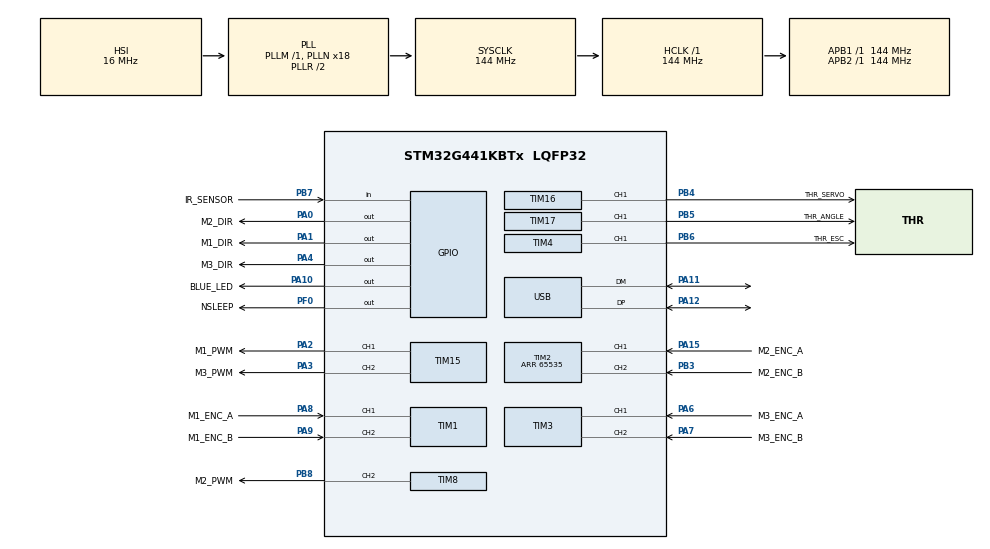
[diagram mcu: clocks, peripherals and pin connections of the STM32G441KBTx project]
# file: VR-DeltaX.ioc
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Mcu.Family=STM32G4
Mcu.Name=STM32G441KBTx
Mcu.Package=LQFP32
NVIC.PriorityGroup=NVIC_PRIORITYGROUP_4
NVIC.TIM6_DAC_IRQn=true\:0\:0\:false\:false\:true\:true\:true\:true
NVIC.USB_LP_IRQn=true\:0\:0\:false\:false\:true\:false\:true\:true
PA0.GPIO_Label=M2_DIR
PA0.Signal=GPIO_Output
PA1.GPIO_Label=M1_DIR
PA1.Signal=GPIO_Output
PA10.GPIO_Label=BLUE_LED
PA10.Signal=GPIO_Output
PA11.Mode=Device
PA11.Signal=USB_DM
PA12.Mode=Device
PA12.Signal=USB_DP
PA13.Mode=Serial_Wire
PA13.Signal=SYS_JTMS-SWDIO
PA14.Mode=Serial_Wire
PA14.Signal=SYS_JTCK-SWCLK
PA15.GPIO_Label=M2_ENC_A
PA15.Signal=S_TIM2_CH1
PA2.GPIO_Label=M1_PWM
PA2.Signal=S_TIM15_CH1
PA3.GPIO_Label=M3_PWM
PA3.Signal=S_TIM15_CH2
PA4.GPIO_Label=M3_DIR
PA4.Signal=GPIO_Output
PA6.GPIO_Label=M3_ENC_A
PA6.Signal=S_TIM3_CH1
PA7.GPIO_Label=M3_ENC_B
PA7.Signal=S_TIM3_CH2
PA8.GPIO_Label=M1_ENC_A
PA8.Signal=S_TIM1_CH1
PA9.GPIO_Label=M1_ENC_B
PA9.Signal=S_TIM1_CH2
PB3.GPIO_Label=M2_ENC_B
PB3.Signal=S_TIM2_CH2
PB4.GPIO_Label=THR_SERVO
PB4.Signal=S_TIM16_CH1
PB5.GPIO_Label=THR_ANGLE
PB5.Signal=S_TIM17_CH1
PB6.GPIO_Label=THR_ESC
PB6.Signal=S_TIM4_CH1
PB7.GPIO_Label=IR_SENSOR
PB7.Signal=GPIO_Input
PB8-BOOT0.GPIO_Label=M2_PWM
PB8-BOOT0.Signal=S_TIM8_CH2
PF0-OSC_IN.GPIO_Label=NSLEEP
PF0-OSC_IN.Signal=GPIO_Output
ProjectManager.HeapSize=0x200
ProjectManager.StackSize=0x400
ProjectManager.TargetToolchain=STM32CubeIDE
RCC.ADC12Freq_Value=144000000
RCC.AHBFreq_Value=144000000
RCC.APB1Freq_Value=144000000
RCC.APB1TimFreq_Value=144000000
RCC.APB2Freq_Value=144000000
RCC.APB2TimFreq_Value=144000000
RCC.CortexFreq_Value=144000000
RCC.EXTERNAL_CLOCK_VALUE=12288000
RCC.HCLKFreq_Value=144000000
RCC.HSE_VALUE=8000000
RCC.HSI48_VALUE=48000000
RCC.HSI_VALUE=16000000
RCC.LSE_VALUE=32768
RCC.PLLN=18
RCC.PLLQ=RCC_PLLQ_DIV6
RCC.SYSCLKFreq_VALUE=144000000
RCC.SYSCLKSource=RCC_SYSCLKSOURCE_PLLCLK
RCC.USBFreq_Value=48000000
RCC.VCOOutputFreq_Value=288000000
SH.S_TIM15_CH1.0=TIM15_CH1,PWM Generation1 CH1
SH.S_TIM15_CH2.0=TIM15_CH2,PWM Generation2 CH2
SH.S_TIM16_CH1.0=TIM16_CH1,PWM Generation1 CH1
SH.S_TIM17_CH1.0=TIM17_CH1,PWM Generation1 CH1
SH.S_TIM1_CH1.0=TIM1_CH1,Encoder_Interface
SH.S_TIM1_CH2.0=TIM1_CH2,Encoder_Interface
SH.S_TIM2_CH1.0=TIM2_CH1,Encoder_Interface
SH.S_TIM2_CH2.0=TIM2_CH2,Encoder_Interface
SH.S_TIM3_CH1.0=TIM3_CH1,Encoder_Interface
SH.S_TIM3_CH2.0=TIM3_CH2,Encoder_Interface
SH.S_TIM4_CH1.0=TIM4_CH1,PWM Generation1 CH1
SH.S_TIM8_CH2.0=TIM8_CH2,PWM Generation2 CH2
TIM1.AutoReloadPreload=TIM_AUTORELOAD_PRELOAD_ENABLE
TIM1.EncoderMode=TIM_ENCODERMODE_TI12
TIM15.Channel-PWM\ Generation1\ CH1=TIM_CHANNEL_1
TIM15.Channel-PWM\ Generation2\ CH2=TIM_CHANNEL_2
TIM16.Channel=TIM_CHANNEL_1
TIM17.Channel=TIM_CHANNEL_1
TIM2.AutoReloadPreload=TIM_AUTORELOAD_PRELOAD_ENABLE
TIM2.EncoderMode=TIM_ENCODERMODE_TI12
TIM2.PeriodNoDither=65535
TIM3.AutoReloadPreload=TIM_AUTORELOAD_PRELOAD_ENABLE
TIM3.EncoderMode=TIM_ENCODERMODE_TI12
TIM4.AutoReloadPreload=TIM_AUTORELOAD_PRELOAD_ENABLE
TIM4.Channel-PWM\ Generation1\ CH1=TIM_CHANNEL_1
TIM4.PeriodNoDither=20000
TIM4.Prescaler=144
TIM6.PeriodNoDither=9999
TIM6.Prescaler=143
TIM8.Channel-PWM\ Generation2\ CH2=TIM_CHANNEL_2
USB_DEVICE.CLASS_NAME_FS=CDC
USB_DEVICE.VirtualMode=Cdc
USB_DEVICE.VirtualModeFS=Cdc_FS
VP_SYS_VS_DBSignals.Mode=DisableDeadBatterySignals
VP_TIM16_VS_ClockSourceINT.Mode=Enable_Timer
VP_TIM17_VS_ClockSourceINT.Mode=Enable_Timer
VP_TIM6_VS_ClockSourceINT.Mode=Enable_Timer
VP_USB_DEVICE_VS_USB_DEVICE_CDC_FS.Mode=CDC_FS
board=custom

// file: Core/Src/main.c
/* USER CODE BEGIN Header */
/**
  ******************************************************************************
  * @file           : main.c
  * @brief          : Main program body
  ******************************************************************************
  * @attention
  *
  * Copyright (c) 2022 STMicroelectronics.
  * All rights reserved.
  *
  * This software is licensed under terms that can be found in the LICENSE file
  * in the root directory of this software component.
  * If no LICENSE file comes with this software, it is provided AS-IS.
  *
  ******************************************************************************
  */
/* USER CODE END Header */
#include "main.h"
#include "usb_device.h"

/* USER CODE BEGIN Includes */
#include "usbd_cdc_if.h"
/* USER CODE END Includes */

TIM_HandleTypeDef htim1;
TIM_HandleTypeDef htim2;
TIM_HandleTypeDef htim3;
TIM_HandleTypeDef htim4;
TIM_HandleTypeDef htim6;
TIM_HandleTypeDef htim8;
TIM_HandleTypeDef htim15;
TIM_HandleTypeDef htim16;
TIM_HandleTypeDef htim17;

void SystemClock_Config(void);
static void MX_GPIO_Init(void);
static void MX_TIM1_Init(void);
static void MX_TIM2_Init(void);
static void MX_TIM3_Init(void);
static void MX_TIM4_Init(void);
static void MX_TIM8_Init(void);
static void MX_TIM15_Init(void);
static void MX_TIM16_Init(void);
static void MX_TIM17_Init(void);
static void MX_TIM6_Init(void);

/* USER CODE BEGIN 0 */
typedef struct Command {
  int16_t speed1;
  int16_t speed2;
  int16_t speed3;
  uint16_t throwerSpeed;
  uint16_t delimiter;
} Command;

typedef struct Feedback {
  int16_t speed1;
  int16_t speed2;
  int16_t speed3;
  uint16_t delimiter;
} Feedback;

typedef struct MotorControl {
	int16_t speed;
	int16_t newspeed;
	int16_t positionChange;
	int16_t position;
	int16_t gainP;
	int16_t gainI;
	int32_t integral;

} MotorControl;

MotorControl motor1Control = {.speed = 0, .newspeed = 0, .positionChange = 0, .position = 0, .gainP = 3000, .gainI = 200, .integral = 0};
MotorControl motor2Control = {.speed = 0, .newspeed = 0, .positionChange = 0, .position = 0, .gainP = 3000, .gainI = 200, .integral = 0};
MotorControl motor3Control = {.speed = 0, .newspeed = 0, .positionChange = 0, .position = 0, .gainP = 3000, .gainI = 200, .integral = 0};

Command command = {.speed1 = 0, .speed2 = 0, .speed3 = 0, .throwerSpeed = 0, .delimiter = 0};
volatile uint8_t isCommandReceived = 0;
uint16_t timeout = 0;
uint16_t motor_enabled = 0;

void CDC_On_Receive(uint8_t* buffer, uint32_t* length) {
	if (*length == sizeof(Command)) {
    memcpy(&command, buffer, sizeof(Command));

    if (command.delimiter == 0xAAAA) {
      isCommandReceived = 1;
    }
  }
}

int32_t clamp(int32_t value, int32_t minValue, int32_t maxValue) {
	if (value > maxValue) {
		return maxValue;
	}

	if (value < minValue) {
		return minValue;
	}
	return value;
}

int32_t controlPID(MotorControl* control, int16_t position) {
	control->positionChange = position - control->position;
	control->position = position;
	int32_t error = (int32_t)control->speed - (int32_t)control->positionChange;
	if (control->speed == 0) {
		control->integral = 0;
	} else {
		control->integral = clamp(control->integral+error, -65535/control->gainI, 65535/control->gainI);
	}
	return (int32_t)control->gainP * error + (int32_t)control->gainI * control->integral;
}

void nSleep() {
	HAL_GPIO_WritePin(NSLEEP_GPIO_Port, NSLEEP_Pin, 0);
	for (int i = 0; i < 300; i++) {
		__asm("nop");
	}
	HAL_GPIO_WritePin(NSLEEP_GPIO_Port, NSLEEP_Pin, 1);
}

void HAL_TIM_PeriodElapsedCallback(TIM_HandleTypeDef *htim) {
	if (motor_enabled) {
		int16_t position;
		position = (int16_t)TIM1->CNT;
		int32_t pwmValue = controlPID(&motor1Control, position);
		HAL_GPIO_WritePin(M1_DIR_GPIO_Port, M1_DIR_Pin, (pwmValue < 0) ? GPIO_PIN_RESET : GPIO_PIN_SET);
		TIM15->CCR1 = (uint16_t)clamp((pwmValue < 0) ? -pwmValue : pwmValue, 0, 65535);

		position = (int16_t)TIM2->CNT;
		pwmValue = controlPID(&motor2Control, position);
		HAL_GPIO_WritePin(M2_DIR_GPIO_Port, M2_DIR_Pin, (pwmValue < 0) ? GPIO_PIN_RESET : GPIO_PIN_SET);
		TIM8->CCR2 = (uint16_t)clamp((pwmValue < 0) ? -pwmValue : pwmValue, 0, 65535);

		position = (int16_t)TIM3->CNT;
		pwmValue = controlPID(&motor3Control, position);
		HAL_GPIO_WritePin(M3_DIR_GPIO_Port, M3_DIR_Pin, (pwmValue < 0) ? GPIO_PIN_RESET : GPIO_PIN_SET);
		TIM15->CCR2 = (uint16_t)clamp((pwmValue < 0) ? -pwmValue : pwmValue, 0, 65535);

		timeout += 1;
		if (timeout == 100){
			timeout = 0;
			motor_enabled = 0;
			motor1Control.speed = 0;
			TIM15->CCR1 = 0;
			TIM15->CCR2 = 0;
			TIM8->CCR2 = 0;
			TIM4->CCR1 = 1000;
			motor2Control.speed = 0;
			motor3Control.speed = 0;
		}
	}
}
/* USER CODE END 0 */

int main(void)
{

  /* MCU Configuration--------------------------------------------------------*/

  /* Reset of all peripherals, Initializes the Flash interface and the Systick. */
  HAL_Init();

  /* Configure the system clock */
  SystemClock_Config();

  /* Initialize all configured peripherals */
  MX_GPIO_Init();
  MX_USB_Device_Init();
  MX_TIM1_Init();
  MX_TIM2_Init();
  MX_TIM3_Init();
  MX_TIM4_Init();
  MX_TIM8_Init();
  MX_TIM15_Init();
  MX_TIM16_Init();
  MX_TIM17_Init();
  MX_TIM6_Init();
  /* USER CODE BEGIN 2 */

  HAL_TIM_Encoder_Start(&htim1, TIM_CHANNEL_1 | TIM_CHANNEL_2);
  HAL_TIM_Encoder_Start(&htim2, TIM_CHANNEL_1 | TIM_CHANNEL_2);
  HAL_TIM_Encoder_Start(&htim3, TIM_CHANNEL_1 | TIM_CHANNEL_2);

  HAL_TIM_PWM_Start(&htim4, TIM_CHANNEL_1);
  HAL_TIM_PWM_Start(&htim8, TIM_CHANNEL_2);
  HAL_TIM_PWM_Start(&htim15, TIM_CHANNEL_1);
  HAL_TIM_PWM_Start(&htim15, TIM_CHANNEL_2);

  HAL_TIM_Base_Start_IT(&htim6);

  TIM15->CCR1 = 0;
  TIM15->CCR2 = 0;
  TIM8->CCR2 = 0;
  TIM4->CCR1 = 1000;

  Feedback feedback = { // (1)
      .speed1 = 0,
      .speed2 = 0,
      .speed3 = 0,
      .delimiter = 0xAAAA
  };

  HAL_GPIO_WritePin(NSLEEP_GPIO_Port, NSLEEP_Pin, 1);
  /* USER CODE END 2 */

  /* Infinite loop */
  while (1) {

    /* USER CODE BEGIN 3 */
	if (isCommandReceived) { // (2).

	  isCommandReceived = 0;
	  timeout = 0;
	  motor_enabled = 1;
	  nSleep();

	  motor1Control.speed = command.speed1;
	  motor2Control.speed = command.speed2;
	  motor3Control.speed = command.speed3;

	  feedback.speed1 = motor1Control.positionChange; // (4)
	  feedback.speed2 = motor2Control.positionChange;
	  feedback.speed3 = motor3Control.positionChange;

	  TIM4->CCR1 = clamp(command.throwerSpeed, 1000, 2000);

	  CDC_Transmit_FS(&feedback, sizeof(feedback)); // (5)
	}
  }
  /* USER CODE END 3 */
}

void SystemClock_Config(void)
{
  RCC_OscInitTypeDef RCC_OscInitStruct = {0};
  RCC_ClkInitTypeDef RCC_ClkInitStruct = {0};

  /** Configure the main internal regulator output voltage
  */
  HAL_PWREx_ControlVoltageScaling(PWR_REGULATOR_VOLTAGE_SCALE1);

  /** Initializes the RCC Oscillators according to the specified parameters
  * in the RCC_OscInitTypeDef structure.
  */
  RCC_OscInitStruct.OscillatorType = RCC_OSCILLATORTYPE_HSI;
  RCC_OscInitStruct.HSIState = RCC_HSI_ON;
  RCC_OscInitStruct.HSICalibrationValue = RCC_HSICALIBRATION_DEFAULT;
  RCC_OscInitStruct.PLL.PLLState = RCC_PLL_ON;
  RCC_OscInitStruct.PLL.PLLSource = RCC_PLLSOURCE_HSI;
  RCC_OscInitStruct.PLL.PLLM = RCC_PLLM_DIV1;
  RCC_OscInitStruct.PLL.PLLN = 18;
  RCC_OscInitStruct.PLL.PLLP = RCC_PLLP_DIV2;
  RCC_OscInitStruct.PLL.PLLQ = RCC_PLLQ_DIV6;
  RCC_OscInitStruct.PLL.PLLR = RCC_PLLR_DIV2;
  if (HAL_RCC_OscConfig(&RCC_OscInitStruct) != HAL_OK)
  {
    Error_Handler();
  }

  /** Initializes the CPU, AHB and APB buses clocks
  */
  RCC_ClkInitStruct.ClockType = RCC_CLOCKTYPE_HCLK|RCC_CLOCKTYPE_SYSCLK
                              |RCC_CLOCKTYPE_PCLK1|RCC_CLOCKTYPE_PCLK2;
  RCC_ClkInitStruct.SYSCLKSource = RCC_SYSCLKSOURCE_PLLCLK;
  RCC_ClkInitStruct.AHBCLKDivider = RCC_SYSCLK_DIV1;
  RCC_ClkInitStruct.APB1CLKDivider = RCC_HCLK_DIV1;
  RCC_ClkInitStruct.APB2CLKDivider = RCC_HCLK_DIV1;

  if (HAL_RCC_ClockConfig(&RCC_ClkInitStruct, FLASH_LATENCY_4) != HAL_OK)
  {
    Error_Handler();
  }
}

static void MX_TIM1_Init(void)
{

  TIM_Encoder_InitTypeDef sConfig = {0};
  TIM_MasterConfigTypeDef sMasterConfig = {0};

  htim1.Instance = TIM1;
  htim1.Init.Prescaler = 0;
  htim1.Init.CounterMode = TIM_COUNTERMODE_UP;
  htim1.Init.Period = 65535;
  htim1.Init.ClockDivision = TIM_CLOCKDIVISION_DIV1;
  htim1.Init.RepetitionCounter = 0;
  htim1.Init.AutoReloadPreload = TIM_AUTORELOAD_PRELOAD_ENABLE;
  sConfig.EncoderMode = TIM_ENCODERMODE_TI12;
  sConfig.IC1Polarity = TIM_ICPOLARITY_RISING;
  sConfig.IC1Selection = TIM_ICSELECTION_DIRECTTI;
  sConfig.IC1Prescaler = TIM_ICPSC_DIV1;
  sConfig.IC1Filter = 0;
  sConfig.IC2Polarity = TIM_ICPOLARITY_RISING;
  sConfig.IC2Selection = TIM_ICSELECTION_DIRECTTI;
  sConfig.IC2Prescaler = TIM_ICPSC_DIV1;
  sConfig.IC2Filter = 0;
  if (HAL_TIM_Encoder_Init(&htim1, &sConfig) != HAL_OK)
  {
    Error_Handler();
  }
  sMasterConfig.MasterOutputTrigger = TIM_TRGO_RESET;
  sMasterConfig.MasterOutputTrigger2 = TIM_TRGO2_RESET;
  sMasterConfig.MasterSlaveMode = TIM_MASTERSLAVEMODE_DISABLE;
  if (HAL_TIMEx_MasterConfigSynchronization(&htim1, &sMasterConfig) != HAL_OK)
  {
    Error_Handler();
  }

}

static void MX_TIM2_Init(void)
{

  TIM_Encoder_InitTypeDef sConfig = {0};
  TIM_MasterConfigTypeDef sMasterConfig = {0};

  htim2.Instance = TIM2;
  htim2.Init.Prescaler = 0;
  htim2.Init.CounterMode = TIM_COUNTERMODE_UP;
  htim2.Init.Period = 65535;
  htim2.Init.ClockDivision = TIM_CLOCKDIVISION_DIV1;
  htim2.Init.AutoReloadPreload = TIM_AUTORELOAD_PRELOAD_ENABLE;
  sConfig.EncoderMode = TIM_ENCODERMODE_TI12;
  sConfig.IC1Polarity = TIM_ICPOLARITY_RISING;
  sConfig.IC1Selection = TIM_ICSELECTION_DIRECTTI;
  sConfig.IC1Prescaler = TIM_ICPSC_DIV1;
  sConfig.IC1Filter = 0;
  sConfig.IC2Polarity = TIM_ICPOLARITY_RISING;
  sConfig.IC2Selection = TIM_ICSELECTION_DIRECTTI;
  sConfig.IC2Prescaler = TIM_ICPSC_DIV1;
  sConfig.IC2Filter = 0;
  if (HAL_TIM_Encoder_Init(&htim2, &sConfig) != HAL_OK)
  {
    Error_Handler();
  }
  sMasterConfig.MasterOutputTrigger = TIM_TRGO_RESET;
  sMasterConfig.MasterSlaveMode = TIM_MASTERSLAVEMODE_DISABLE;
  if (HAL_TIMEx_MasterConfigSynchronization(&htim2, &sMasterConfig) != HAL_OK)
  {
    Error_Handler();
  }

}

static void MX_TIM3_Init(void)
{

  TIM_Encoder_InitTypeDef sConfig = {0};
  TIM_MasterConfigTypeDef sMasterConfig = {0};

  htim3.Instance = TIM3;
  htim3.Init.Prescaler = 0;
  htim3.Init.CounterMode = TIM_COUNTERMODE_UP;
  htim3.Init.Period = 65535;
  htim3.Init.ClockDivision = TIM_CLOCKDIVISION_DIV1;
  htim3.Init.AutoReloadPreload = TIM_AUTORELOAD_PRELOAD_ENABLE;
  sConfig.EncoderMode = TIM_ENCODERMODE_TI12;
  sConfig.IC1Polarity = TIM_ICPOLARITY_RISING;
  sConfig.IC1Selection = TIM_ICSELECTION_DIRECTTI;
  sConfig.IC1Prescaler = TIM_ICPSC_DIV1;
  sConfig.IC1Filter = 0;
  sConfig.IC2Polarity = TIM_ICPOLARITY_RISING;
  sConfig.IC2Selection = TIM_ICSELECTION_DIRECTTI;
  sConfig.IC2Prescaler = TIM_ICPSC_DIV1;
  sConfig.IC2Filter = 0;
  if (HAL_TIM_Encoder_Init(&htim3, &sConfig) != HAL_OK)
  {
    Error_Handler();
  }
  sMasterConfig.MasterOutputTrigger = TIM_TRGO_RESET;
  sMasterConfig.MasterSlaveMode = TIM_MASTERSLAVEMODE_DISABLE;
  if (HAL_TIMEx_MasterConfigSynchronization(&htim3, &sMasterConfig) != HAL_OK)
  {
    Error_Handler();
  }

}

static void MX_TIM4_Init(void)
{

  TIM_MasterConfigTypeDef sMasterConfig = {0};
  TIM_OC_InitTypeDef sConfigOC = {0};

  htim4.Instance = TIM4;
  htim4.Init.Prescaler = 144;
  htim4.Init.CounterMode = TIM_COUNTERMODE_UP;
  htim4.Init.Period = 20000;
  htim4.Init.ClockDivision = TIM_CLOCKDIVISION_DIV1;
  htim4.Init.AutoReloadPreload = TIM_AUTORELOAD_PRELOAD_ENABLE;
  if (HAL_TIM_PWM_Init(&htim4) != HAL_OK)
  {
    Error_Handler();
  }
  sMasterConfig.MasterOutputTrigger = TIM_TRGO_RESET;
  sMasterConfig.MasterSlaveMode = TIM_MASTERSLAVEMODE_DISABLE;
  if (HAL_TIMEx_MasterConfigSynchronization(&htim4, &sMasterConfig) != HAL_OK)
  {
    Error_Handler();
  }
  sConfigOC.OCMode = TIM_OCMODE_PWM1;
  sConfigOC.Pulse = 0;
  sConfigOC.OCPolarity = TIM_OCPOLARITY_HIGH;
  sConfigOC.OCFastMode = TIM_OCFAST_DISABLE;
  if (HAL_TIM_PWM_ConfigChannel(&htim4, &sConfigOC, TIM_CHANNEL_1) != HAL_OK)
  {
    Error_Handler();
  }
  HAL_TIM_MspPostInit(&htim4);

}

static void MX_TIM6_Init(void)
{

  TIM_MasterConfigTypeDef sMasterConfig = {0};

  htim6.Instance = TIM6;
  htim6.Init.Prescaler = 143;
  htim6.Init.CounterMode = TIM_COUNTERMODE_UP;
  htim6.Init.Period = 9999;
  htim6.Init.AutoReloadPreload = TIM_AUTORELOAD_PRELOAD_DISABLE;
  if (HAL_TIM_Base_Init(&htim6) != HAL_OK)
  {
    Error_Handler();
  }
  sMasterConfig.MasterOutputTrigger = TIM_TRGO_RESET;
  sMasterConfig.MasterSlaveMode = TIM_MASTERSLAVEMODE_DISABLE;
  if (HAL_TIMEx_MasterConfigSynchronization(&htim6, &sMasterConfig) != HAL_OK)
  {
    Error_Handler();
  }

}

static void MX_TIM8_Init(void)
{

  TIM_MasterConfigTypeDef sMasterConfig = {0};
  TIM_OC_InitTypeDef sConfigOC = {0};
  TIM_BreakDeadTimeConfigTypeDef sBreakDeadTimeConfig = {0};

  htim8.Instance = TIM8;
  htim8.Init.Prescaler = 0;
  htim8.Init.CounterMode = TIM_COUNTERMODE_UP;
  htim8.Init.Period = 65535;
  htim8.Init.ClockDivision = TIM_CLOCKDIVISION_DIV1;
  htim8.Init.RepetitionCounter = 0;
  htim8.Init.AutoReloadPreload = TIM_AUTORELOAD_PRELOAD_DISABLE;
  if (HAL_TIM_PWM_Init(&htim8) != HAL_OK)
  {
    Error_Handler();
  }
  sMasterConfig.MasterOutputTrigger = TIM_TRGO_RESET;
  sMasterConfig.MasterOutputTrigger2 = TIM_TRGO2_RESET;
  sMasterConfig.MasterSlaveMode = TIM_MASTERSLAVEMODE_DISABLE;
  if (HAL_TIMEx_MasterConfigSynchronization(&htim8, &sMasterConfig) != HAL_OK)
  {
    Error_Handler();
  }
  sConfigOC.OCMode = TIM_OCMODE_PWM1;
  sConfigOC.Pulse = 0;
  sConfigOC.OCPolarity = TIM_OCPOLARITY_HIGH;
  sConfigOC.OCNPolarity = TIM_OCNPOLARITY_HIGH;
  sConfigOC.OCFastMode = TIM_OCFAST_DISABLE;
  sConfigOC.OCIdleState = TIM_OCIDLESTATE_RESET;
  sConfigOC.OCNIdleState = TIM_OCNIDLESTATE_RESET;
  if (HAL_TIM_PWM_ConfigChannel(&htim8, &sConfigOC, TIM_CHANNEL_2) != HAL_OK)
  {
    Error_Handler();
  }
  sBreakDeadTimeConfig.OffStateRunMode = TIM_OSSR_DISABLE;
  sBreakDeadTimeConfig.OffStateIDLEMode = TIM_OSSI_DISABLE;
  sBreakDeadTimeConfig.LockLevel = TIM_LOCKLEVEL_OFF;
  sBreakDeadTimeConfig.DeadTime = 0;
  sBreakDeadTimeConfig.BreakState = TIM_BREAK_DISABLE;
  sBreakDeadTimeConfig.BreakPolarity = TIM_BREAKPOLARITY_HIGH;
  sBreakDeadTimeConfig.BreakFilter = 0;
  sBreakDeadTimeConfig.BreakAFMode = TIM_BREAK_AFMODE_INPUT;
  sBreakDeadTimeConfig.Break2State = TIM_BREAK2_DISABLE;
  sBreakDeadTimeConfig.Break2Polarity = TIM_BREAK2POLARITY_HIGH;
  sBreakDeadTimeConfig.Break2Filter = 0;
  sBreakDeadTimeConfig.Break2AFMode = TIM_BREAK_AFMODE_INPUT;
  sBreakDeadTimeConfig.AutomaticOutput = TIM_AUTOMATICOUTPUT_DISABLE;
  if (HAL_TIMEx_ConfigBreakDeadTime(&htim8, &sBreakDeadTimeConfig) != HAL_OK)
  {
    Error_Handler();
  }
  HAL_TIM_MspPostInit(&htim8);

}

static void MX_TIM15_Init(void)
{

  TIM_MasterConfigTypeDef sMasterConfig = {0};
  TIM_OC_InitTypeDef sConfigOC = {0};
  TIM_BreakDeadTimeConfigTypeDef sBreakDeadTimeConfig = {0};

  htim15.Instance = TIM15;
  htim15.Init.Prescaler = 0;
  htim15.Init.CounterMode = TIM_COUNTERMODE_UP;
  htim15.Init.Period = 65535;
  htim15.Init.ClockDivision = TIM_CLOCKDIVISION_DIV1;
  htim15.Init.RepetitionCounter = 0;
  htim15.Init.AutoReloadPreload = TIM_AUTORELOAD_PRELOAD_DISABLE;
  if (HAL_TIM_PWM_Init(&htim15) != HAL_OK)
  {
    Error_Handler();
  }
  sMasterConfig.MasterOutputTrigger = TIM_TRGO_RESET;
  sMasterConfig.MasterSlaveMode = TIM_MASTERSLAVEMODE_DISABLE;
  if (HAL_TIMEx_MasterConfigSynchronization(&htim15, &sMasterConfig) != HAL_OK)
  {
    Error_Handler();
  }
  sConfigOC.OCMode = TIM_OCMODE_PWM1;
  sConfigOC.Pulse = 0;
  sConfigOC.OCPolarity = TIM_OCPOLARITY_HIGH;
  sConfigOC.OCNPolarity = TIM_OCNPOLARITY_HIGH;
  sConfigOC.OCFastMode = TIM_OCFAST_DISABLE;
  sConfigOC.OCIdleState = TIM_OCIDLESTATE_RESET;
  sConfigOC.OCNIdleState = TIM_OCNIDLESTATE_RESET;
  if (HAL_TIM_PWM_ConfigChannel(&htim15, &sConfigOC, TIM_CHANNEL_1) != HAL_OK)
  {
    Error_Handler();
  }
  if (HAL_TIM_PWM_ConfigChannel(&htim15, &sConfigOC, TIM_CHANNEL_2) != HAL_OK)
  {
    Error_Handler();
  }
  sBreakDeadTimeConfig.OffStateRunMode = TIM_OSSR_DISABLE;
  sBreakDeadTimeConfig.OffStateIDLEMode = TIM_OSSI_DISABLE;
  sBreakDeadTimeConfig.LockLevel = TIM_LOCKLEVEL_OFF;
  sBreakDeadTimeConfig.DeadTime = 0;
  sBreakDeadTimeConfig.BreakState = TIM_BREAK_DISABLE;
  sBreakDeadTimeConfig.BreakPolarity = TIM_BREAKPOLARITY_HIGH;
  sBreakDeadTimeConfig.BreakFilter = 0;
  sBreakDeadTimeConfig.AutomaticOutput = TIM_AUTOMATICOUTPUT_DISABLE;
  if (HAL_TIMEx_ConfigBreakDeadTime(&htim15, &sBreakDeadTimeConfig) != HAL_OK)
  {
    Error_Handler();
  }
  HAL_TIM_MspPostInit(&htim15);

}

static void MX_TIM16_Init(void)
{

  TIM_OC_InitTypeDef sConfigOC = {0};
  TIM_BreakDeadTimeConfigTypeDef sBreakDeadTimeConfig = {0};

  htim16.Instance = TIM16;
  htim16.Init.Prescaler = 0;
  htim16.Init.CounterMode = TIM_COUNTERMODE_UP;
  htim16.Init.Period = 65535;
  htim16.Init.ClockDivision = TIM_CLOCKDIVISION_DIV1;
  htim16.Init.RepetitionCounter = 0;
  htim16.Init.AutoReloadPreload = TIM_AUTORELOAD_PRELOAD_DISABLE;
  if (HAL_TIM_Base_Init(&htim16) != HAL_OK)
  {
    Error_Handler();
  }
  if (HAL_TIM_PWM_Init(&htim16) != HAL_OK)
  {
    Error_Handler();
  }
  sConfigOC.OCMode = TIM_OCMODE_PWM1;
  sConfigOC.Pulse = 0;
  sConfigOC.OCPolarity = TIM_OCPOLARITY_HIGH;
  sConfigOC.OCNPolarity = TIM_OCNPOLARITY_HIGH;
  sConfigOC.OCFastMode = TIM_OCFAST_DISABLE;
  sConfigOC.OCIdleState = TIM_OCIDLESTATE_RESET;
  sConfigOC.OCNIdleState = TIM_OCNIDLESTATE_RESET;
  if (HAL_TIM_PWM_ConfigChannel(&htim16, &sConfigOC, TIM_CHANNEL_1) != HAL_OK)
  {
    Error_Handler();
  }
  sBreakDeadTimeConfig.OffStateRunMode = TIM_OSSR_DISABLE;
  sBreakDeadTimeConfig.OffStateIDLEMode = TIM_OSSI_DISABLE;
  sBreakDeadTimeConfig.LockLevel = TIM_LOCKLEVEL_OFF;
  sBreakDeadTimeConfig.DeadTime = 0;
  sBreakDeadTimeConfig.BreakState = TIM_BREAK_DISABLE;
  sBreakDeadTimeConfig.BreakPolarity = TIM_BREAKPOLARITY_HIGH;
  sBreakDeadTimeConfig.BreakFilter = 0;
  sBreakDeadTimeConfig.AutomaticOutput = TIM_AUTOMATICOUTPUT_DISABLE;
  if (HAL_TIMEx_ConfigBreakDeadTime(&htim16, &sBreakDeadTimeConfig) != HAL_OK)
  {
    Error_Handler();
  }
  HAL_TIM_MspPostInit(&htim16);

}

static void MX_TIM17_Init(void)
{

  TIM_OC_InitTypeDef sConfigOC = {0};
  TIM_BreakDeadTimeConfigTypeDef sBreakDeadTimeConfig = {0};

  htim17.Instance = TIM17;
  htim17.Init.Prescaler = 0;
  htim17.Init.CounterMode = TIM_COUNTERMODE_UP;
  htim17.Init.Period = 65535;
  htim17.Init.ClockDivision = TIM_CLOCKDIVISION_DIV1;
  htim17.Init.RepetitionCounter = 0;
  htim17.Init.AutoReloadPreload = TIM_AUTORELOAD_PRELOAD_DISABLE;
  if (HAL_TIM_Base_Init(&htim17) != HAL_OK)
  {
    Error_Handler();
  }
  if (HAL_TIM_PWM_Init(&htim17) != HAL_OK)
  {
    Error_Handler();
  }
  sConfigOC.OCMode = TIM_OCMODE_PWM1;
  sConfigOC.Pulse = 0;
  sConfigOC.OCPolarity = TIM_OCPOLARITY_HIGH;
  sConfigOC.OCNPolarity = TIM_OCNPOLARITY_HIGH;
  sConfigOC.OCFastMode = TIM_OCFAST_DISABLE;
  sConfigOC.OCIdleState = TIM_OCIDLESTATE_RESET;
  sConfigOC.OCNIdleState = TIM_OCNIDLESTATE_RESET;
  if (HAL_TIM_PWM_ConfigChannel(&htim17, &sConfigOC, TIM_CHANNEL_1) != HAL_OK)
  {
    Error_Handler();
  }
  sBreakDeadTimeConfig.OffStateRunMode = TIM_OSSR_DISABLE;
  sBreakDeadTimeConfig.OffStateIDLEMode = TIM_OSSI_DISABLE;
  sBreakDeadTimeConfig.LockLevel = TIM_LOCKLEVEL_OFF;
  sBreakDeadTimeConfig.DeadTime = 0;
  sBreakDeadTimeConfig.BreakState = TIM_BREAK_DISABLE;
  sBreakDeadTimeConfig.BreakPolarity = TIM_BREAKPOLARITY_HIGH;
  sBreakDeadTimeConfig.BreakFilter = 0;
  sBreakDeadTimeConfig.AutomaticOutput = TIM_AUTOMATICOUTPUT_DISABLE;
  if (HAL_TIMEx_ConfigBreakDeadTime(&htim17, &sBreakDeadTimeConfig) != HAL_OK)
  {
    Error_Handler();
  }
  HAL_TIM_MspPostInit(&htim17);

}

static void MX_GPIO_Init(void)
{
  GPIO_InitTypeDef GPIO_InitStruct = {0};

  /* GPIO Ports Clock Enable */
  __HAL_RCC_GPIOF_CLK_ENABLE();
  __HAL_RCC_GPIOA_CLK_ENABLE();
  __HAL_RCC_GPIOB_CLK_ENABLE();

  /*Configure GPIO pin Output Level */
  HAL_GPIO_WritePin(NSLEEP_GPIO_Port, NSLEEP_Pin, GPIO_PIN_RESET);

  /*Configure GPIO pin Output Level */
  HAL_GPIO_WritePin(GPIOA, M2_DIR_Pin|M1_DIR_Pin|M3_DIR_Pin|BLUE_LED_Pin, GPIO_PIN_RESET);

  /*Configure GPIO pin : NSLEEP_Pin */
  GPIO_InitStruct.Pin = NSLEEP_Pin;
  GPIO_InitStruct.Mode = GPIO_MODE_OUTPUT_PP;
  GPIO_InitStruct.Pull = GPIO_NOPULL;
  GPIO_InitStruct.Speed = GPIO_SPEED_FREQ_LOW;
  HAL_GPIO_Init(NSLEEP_GPIO_Port, &GPIO_InitStruct);

  /*Configure GPIO pins : M2_DIR_Pin M1_DIR_Pin M3_DIR_Pin BLUE_LED_Pin */
  GPIO_InitStruct.Pin = M2_DIR_Pin|M1_DIR_Pin|M3_DIR_Pin|BLUE_LED_Pin;
  GPIO_InitStruct.Mode = GPIO_MODE_OUTPUT_PP;
  GPIO_InitStruct.Pull = GPIO_NOPULL;
  GPIO_InitStruct.Speed = GPIO_SPEED_FREQ_LOW;
  HAL_GPIO_Init(GPIOA, &GPIO_InitStruct);

  /*Configure GPIO pin : IR_SENSOR_Pin */
  GPIO_InitStruct.Pin = IR_SENSOR_Pin;
  GPIO_InitStruct.Mode = GPIO_MODE_INPUT;
  GPIO_InitStruct.Pull = GPIO_NOPULL;
  HAL_GPIO_Init(IR_SENSOR_GPIO_Port, &GPIO_InitStruct);

}

void Error_Handler(void)
{
  __disable_irq();
  while (1)
  {
  }
}
